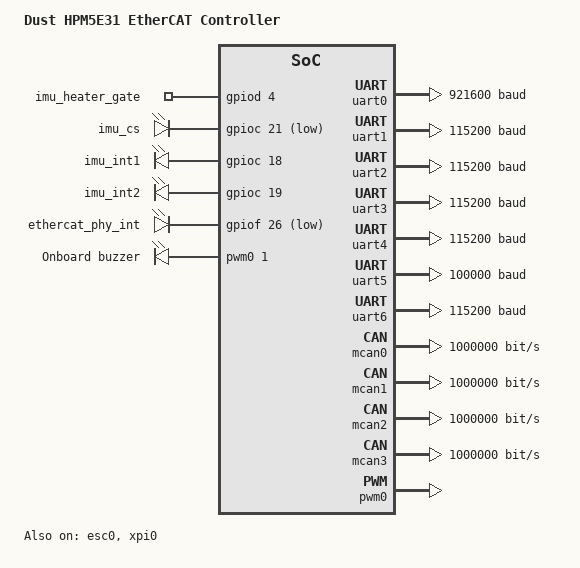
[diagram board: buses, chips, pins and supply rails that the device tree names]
/* SPDX-License-Identifier: Apache-2.0 */
/* Copyright (c) 2026 */

/dts-v1/;
#include <hpmicro/hpm5e31.dtsi>
#include <zephyr/dt-bindings/pwm/pwm.h>
#include "dust-hpm5e31-pinctrl.dtsi"

/ {
	model = "Dust HPM5E31 EtherCAT Controller";
	compatible = "dust,hpm5e31";

	aliases {
		canbus = &mcan0;
		ethercat0 = &esc0;
		onboard-imu-cs = &imu_cs;
		onboard-imu-int1 = &imu_int1;
		onboard-imu-drdy = &imu_int1;
		onboard-imu-int2 = &imu_int2;
		ethercat-phy-int = &ethercat_phy_int;
		onboard-imu-heater = &onboard_imu_heater;
		onboard-imu-power = &imu_heater_gate;
		pwm-buzzer = &pwm_buzzer;
		coredump-partition = &coredump_partition;
	};

	chosen {
		zephyr,console = &uart0;
		zephyr,sram = &sram;
		zephyr,flash = &flash0;
		zephyr,itcm = &ilm;
		zephyr,dtcm = &dlm;
		zephyr,code-partition = &slot0_partition;
		zephyr,flash-controller = &xpi0;
		zephyr,canbus = &can0;
		wbr-control,oscilloscope-uart = &uart0;
		wbr-control,remote-input-uart = &uart5;
		wbr-control,hi91-uart = &uart6;
		wbr-control,onboard-imu-spi = &spi3;
	};

	board_gpios {
		compatible = "gpio-leds";
		imu_heater_gate: imu_heater_gate { gpios = <&gpiod 4 GPIO_ACTIVE_HIGH>; };
		imu_cs: imu_cs { gpios = <&gpioc 21 GPIO_ACTIVE_LOW>; };
		imu_int1: imu_int1 { gpios = <&gpioc 18 GPIO_ACTIVE_HIGH>; };
		imu_int2: imu_int2 { gpios = <&gpioc 19 GPIO_ACTIVE_HIGH>; };
		ethercat_phy_int: ethercat_phy_int { gpios = <&gpiof 26 GPIO_ACTIVE_LOW>; };
	};

	pwm_outputs {
		compatible = "pwm-leds";
		onboard_imu_heater: onboard_imu_heater {
			status = "disabled";
			/* Heater uses PWM0 counter 2; independent of the buzzer (counter 0). */
			pwms = <&pwm0 4 PWM_HZ(2000) PWM_POLARITY_NORMAL>;
			label = "Onboard IMU heater MOSFET";
		};
		pwm_buzzer: pwm_buzzer {
			pwms = <&pwm0 1 PWM_HZ(4000) PWM_POLARITY_NORMAL>;
			label = "Onboard buzzer";
		};
	};
};

&uart0 {
	status = "okay";
	current-speed = <921600>;
	pinctrl-0 = <&pinmux_uart0>;
	pinctrl-names = "default";
	dmas = <&hdma 0 8>, <&hdma 1 9>;
	dma-names = "rx", "tx";
};

&uart1 {
	status = "okay";
	current-speed = <115200>;
	pinctrl-0 = <&pinmux_uart1>;
	pinctrl-names = "default";
	dmas = <&hdma 2 10>, <&hdma 3 11>;
	dma-names = "rx", "tx";
};

&uart2 {
	status = "okay";
	current-speed = <115200>;
	pinctrl-0 = <&pinmux_uart2>;
	pinctrl-names = "default";
	dmas = <&hdma 4 12>, <&hdma 5 13>;
	dma-names = "rx", "tx";
};

&uart3 {
	status = "okay";
	current-speed = <115200>;
	pinctrl-0 = <&pinmux_uart3>;
	pinctrl-names = "default";
	dmas = <&hdma 6 14>, <&hdma 7 15>;
	dma-names = "rx", "tx";
};

&uart4 {
	status = "okay";
	current-speed = <115200>;
	pinctrl-0 = <&pinmux_uart4>;
	pinctrl-names = "default";
	dmas = <&xdma 0 16>, <&xdma 1 17>;
	dma-names = "rx", "tx";
};

&uart5 {
	status = "okay";
	current-speed = <100000>;
	pinctrl-0 = <&pinmux_uart5>;
	pinctrl-names = "default";
	dmas = <&xdma 2 18>, <&xdma 3 19>;
	dma-names = "rx", "tx";
};

&uart6 {
	status = "okay";
	current-speed = <115200>;
	pinctrl-0 = <&pinmux_uart6>;
	pinctrl-names = "default";
	dmas = <&xdma 4 20>, <&xdma 5 21>;
	dma-names = "rx", "tx";
};

/* ICM-42688P: retain the wiring, but do not initialize SPI or start sampling. */
&spi3 {
	status = "disabled";
	pinctrl-0 = <&pinmux_spi3>;
	pinctrl-names = "default";
	cs-gpios = <&gpioc 21 GPIO_ACTIVE_LOW>;
};

&mcan0 { status = "okay"; interrupts = <46 2>; pinctrl-0 = <&pinmux_mcan0>; pinctrl-names = "default"; bitrate = <1000000>; can-transceiver { max-bitrate = <5000000>; }; };
&mcan1 { status = "okay"; interrupts = <47 2>; pinctrl-0 = <&pinmux_mcan1>; pinctrl-names = "default"; bitrate = <1000000>; can-transceiver { max-bitrate = <5000000>; }; };
&mcan2 { status = "okay"; interrupts = <48 2>; pinctrl-0 = <&pinmux_mcan2>; pinctrl-names = "default"; bitrate = <1000000>; can-transceiver { max-bitrate = <5000000>; }; };
&mcan3 { status = "okay"; interrupts = <49 2>; pinctrl-0 = <&pinmux_mcan3>; pinctrl-names = "default"; bitrate = <1000000>; can-transceiver { max-bitrate = <5000000>; }; };

&gpioa { status = "okay"; };
&gpiob { status = "okay"; };
&gpioc {
	status = "okay";
	pinctrl-0 = <&pinmux_imu_gpio>;
	pinctrl-names = "default";
};
&gpiod {
	status = "okay";
	pinctrl-0 = <&pinmux_imu_heater_off>;
	pinctrl-names = "default";
};
&gpioe { status = "okay"; };
&gpiof {
	status = "okay";
	pinctrl-0 = <&pinmux_esc_gpio>;
	pinctrl-names = "default";
};
&hdma { status = "okay"; };
&xdma { status = "okay"; };

&pwm0 {
	status = "okay";
	pinctrl-0 = <&pinmux_pwm0>;
	pinctrl-names = "default";
	period-init = <100>;
	dead-zone-in-half-cycle = <0>;
};

&esc0 {
	status = "okay";
	pinctrl-0 = <&pinmux_esc0>;
	pinctrl-names = "default";
	phy-reset-gpios = <&gpiof 28 GPIO_ACTIVE_LOW>;
	phy-addr-offset = <0>;
	/* Port0: RTL8201F at MDIO 1; port1: TJA1101B at MDIO 0 (schematic straps). */
	software-link0;
	software-link1;
	port1-enabled;
};

cherryusb_usb0: &usb0 {
	compatible = "hpmicro,hpm-cherryusb";
	status = "disabled";
};

&xpi0 {
	status = "okay";
	flash0: flash@0 {
		compatible = "hpmicro,hpmicro-flash", "soc-nv-flash";
		reg = <0x80000000 DT_SIZE_M(1)>;
		erase-block-size = <4096>;
		write-block-size = <1>;
		nor-cfg-opt-hdr = <0xfcf90002>;
		nor-cfg-opt-opt0 = <0x05>;
		nor-cfg-opt-opt1 = <0x1000>;
		partitions {
			compatible = "fixed-partitions";
			#address-cells = <1>;
			#size-cells = <1>;
			boot_partition: partition@0 { label = "boot"; reg = <0 0x3000>; };
			slot0_partition: partition@3000 { label = "image-0"; reg = <0x3000 0xbc000>; };
			slot1_partition: partition@bf000 { label = "image-1-reserved"; reg = <0xbf000 0x1000>; };
			scratch_partition: partition@c0000 { label = "scratch-reserved"; reg = <0xc0000 0x1000>; };
			ethercat_eeprom_partition: partition@d0000 { label = "ethercat-eeprom"; reg = <0xd0000 0x10000>; };
			coredump_partition: storage_partition: partition@e0000 {
				label = "coredump-partition";
				reg = <0xe0000 0x20000>;
			};
		};
	};
};
